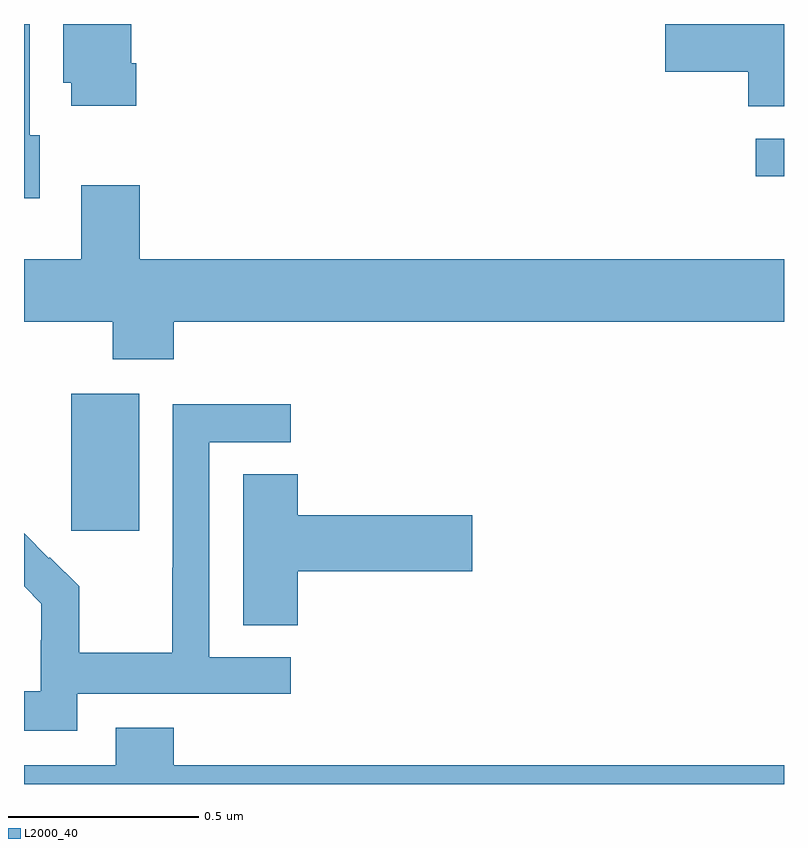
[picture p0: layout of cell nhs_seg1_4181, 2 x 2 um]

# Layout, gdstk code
import gdstk
lib = gdstk.Library(unit=1e-6, precision=1e-09)
def R(c, l, rs):  # rectangles x0, y0, x1, y1
    for r in rs: c.add(gdstk.rectangle(r[:2], r[2:], *l))
def P(c, l, *ps):  # polygons
    for p in ps: c.add(gdstk.Polygon(p, *l))
L2000_40 = (2000, 40)

nhs_seg1_4181 = lib.new_cell('nhs_seg1_4181')
R(nhs_seg1_4181, L2000_40, [(163.124,533.865,163.303,534.226), (164.925,534.799,165,534.897)])
P(nhs_seg1_4181, L2000_40, [(163.295,535.096),(163.282,535.096),(163.282,535.199),(163.103,535.199),(163.103,535.044),(163.124,535.044),(163.124,534.984),(163.295,534.984)],
  [(163.042,534.906),(163.015,534.906),(163.015,535.199),(163,535.199),(163,534.74),(163.042,534.74)],
  [(165,535.199),(164.688,535.199),(164.688,535.073),(164.906,535.073),(164.906,534.982),(165,534.982)],
  [(163.304,534.775),(163.151,534.775),(163.151,534.58),(163,534.58),(163,534.416),(163.234,534.416),(163.234,534.317),(163.394,534.317),(163.394,534.416),(165,534.416),(165,534.58),(163.304,534.58)],
  [(163.14,533.436),(163.702,533.436),(163.702,533.532),(163.488,533.532),(163.488,534.099),(163.702,534.099),(163.702,534.198),(163.392,534.198),(163.392,533.768),(163.39,533.768),(163.39,533.545),(163.145,533.545),(163.145,533.719),(163.068,533.796),(163.065,533.793),(163,533.859),(163,533.72),(163.046,533.674),(163.046,533.577),(163.044,533.577),(163.044,533.443),(163,533.443),(163,533.339),(163.14,533.339)],
  [(163.721,533.759),(164.179,533.759),(164.179,533.906),(163.721,533.906),(163.721,534.014),(163.577,534.014),(163.577,533.617),(163.721,533.617)],
  [(165,533.248),(163.394,533.248),(163.394,533.347),(163.241,533.347),(163.241,533.248),(163,533.248),(163,533.199),(165,533.199)])

lib.write_gds('nhs_seg1_4181.gds')
